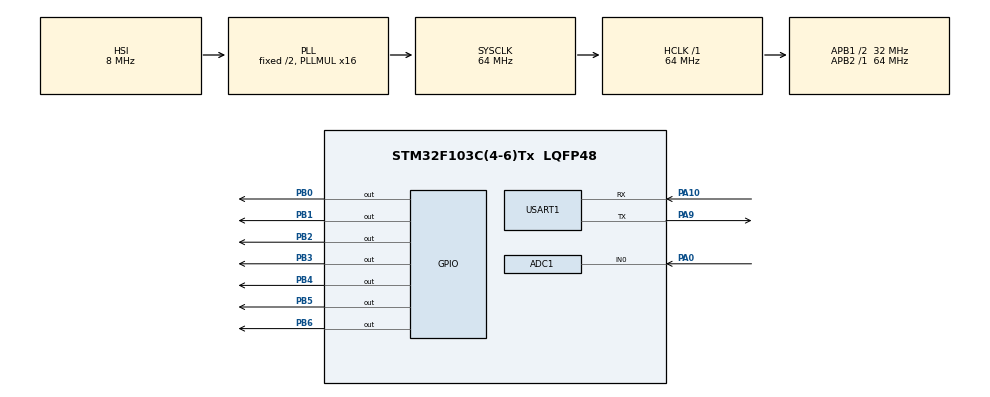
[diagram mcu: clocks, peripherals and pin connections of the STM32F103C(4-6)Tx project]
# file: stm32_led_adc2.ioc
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ADC1.Channel-0\#ChannelRegularConversion=ADC_CHANNEL_0
ADC1.ContinuousConvMode=DISABLE
ADC1.NbrOfConversionFlag=1
ADC1.Rank-0\#ChannelRegularConversion=1
ADC1.SamplingTime-0\#ChannelRegularConversion=ADC_SAMPLETIME_1CYCLE_5
ADC1.master=1
Mcu.Family=STM32F1
Mcu.Name=STM32F103C(4-6)Tx
Mcu.Package=LQFP48
NVIC.PriorityGroup=NVIC_PRIORITYGROUP_4
PA0-WKUP.Signal=ADCx_IN0
PA10.Mode=Asynchronous
PA10.Signal=USART1_RX
PA9.Mode=Asynchronous
PA9.Signal=USART1_TX
PB0.Signal=GPIO_Output
PB1.Signal=GPIO_Output
PB2.Signal=GPIO_Output
PB3.Signal=GPIO_Output
PB4.Signal=GPIO_Output
PB5.Signal=GPIO_Output
PB6.Signal=GPIO_Output
PD0-OSC_IN.Mode=HSE-External-Oscillator
PD0-OSC_IN.Signal=RCC_OSC_IN
PD1-OSC_OUT.Mode=HSE-External-Oscillator
PD1-OSC_OUT.Signal=RCC_OSC_OUT
ProjectManager.HeapSize=0x200
ProjectManager.StackSize=0x400
ProjectManager.TargetToolchain=STM32CubeIDE
RCC.ADCPresc=RCC_ADCPCLK2_DIV6
RCC.AHBFreq_Value=64000000
RCC.APB1CLKDivider=RCC_HCLK_DIV2
RCC.APB1Freq_Value=32000000
RCC.APB1TimFreq_Value=64000000
RCC.APB2Freq_Value=64000000
RCC.APB2TimFreq_Value=64000000
RCC.HCLKFreq_Value=64000000
RCC.PLLMUL=RCC_PLL_MUL16
RCC.SYSCLKFreq_VALUE=64000000
RCC.SYSCLKSource=RCC_SYSCLKSOURCE_PLLCLK
RCC.USBFreq_Value=64000000
SH.ADCx_IN0.0=ADC1_IN0,IN0
USART1.VirtualMode=VM_ASYNC
board=custom

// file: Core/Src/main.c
/* USER CODE BEGIN Header */
/**
  ******************************************************************************
  * @file           : main.c
  * @brief          : Main program body
  ******************************************************************************
  * @attention
  *
  * Copyright (c) 2023 STMicroelectronics.
  * All rights reserved.
  *
  * This software is licensed under terms that can be found in the LICENSE file
  * in the root directory of this software component.
  * If no LICENSE file comes with this software, it is provided AS-IS.
  *
  ******************************************************************************
  */
/* USER CODE END Header */
#include "main.h"

ADC_HandleTypeDef hadc1;

UART_HandleTypeDef huart1;

void SystemClock_Config(void);
static void MX_GPIO_Init(void);
static void MX_ADC1_Init(void);
static void MX_USART1_UART_Init(void);

int main(void)
{
  /* USER CODE BEGIN 1 */
  uint16_t adc_value;
  uint32_t res;
  uint32_t last_res;
  uint16_t T[16]={0x00C0,  //0
		  0x00F9,  //1
		  0x00A4,  //2
		  0x00B0,  //3
		  0x0099,  //4
		  0x0092,  //5
		  0x0082,  //6
		  0x00F8,  //7
		  0x0080,  //8
		  0x0090,  //9
		 };
  char msg[10];

  /* USER CODE END 1 */

  /* MCU Configuration--------------------------------------------------------*/

  /* Reset of all peripherals, Initializes the Flash interface and the Systick. */
  HAL_Init();

  /* Configure the system clock */
  SystemClock_Config();

  /* Initialize all configured peripherals */
  MX_GPIO_Init();
  MX_ADC1_Init();
  MX_USART1_UART_Init();

  /* Infinite loop */
  while (1)
  {

    /* USER CODE BEGIN 3 */
	  //TEST GPIO PIN CONVERSION BEGIN
int i = 0 ;
	  for(i = 0 ; i<10 ; i++) {
	  		   GPIOB->ODR = T[i];
	  		   HAL_Delay(100);
	  	   }
	   //GET ADC VALUE
	   HAL_ADC_Start(&hadc1);
	   HAL_ADC_PollForConversion(&hadc1,HAL_MAX_DELAY);
	   adc_value = HAL_ADC_GetValue(&hadc1);

	   //TEST GPIO PIN CONVERSION END

	   res = (adc_value*100)/4095;
	   last_res = res/3 ;

	   //convert to string and print
	   sprintf(msg,"ADC Value : %d  \n  Voltage Percent:%u\r   ",adc_value,last_res);
	 	   HAL_UART_Transmit(&huart1,(uint64_t*)msg,strlen(msg),HAL_MAX_DELAY);
	 	   HAL_Delay(100) ;

  }
  /* USER CODE END 3 */
}

void SystemClock_Config(void)
{
  RCC_OscInitTypeDef RCC_OscInitStruct = {0};
  RCC_ClkInitTypeDef RCC_ClkInitStruct = {0};
  RCC_PeriphCLKInitTypeDef PeriphClkInit = {0};

  /** Initializes the RCC Oscillators according to the specified parameters
  * in the RCC_OscInitTypeDef structure.
  */
  RCC_OscInitStruct.OscillatorType = RCC_OSCILLATORTYPE_HSI;
  RCC_OscInitStruct.HSIState = RCC_HSI_ON;
  RCC_OscInitStruct.HSICalibrationValue = RCC_HSICALIBRATION_DEFAULT;
  RCC_OscInitStruct.PLL.PLLState = RCC_PLL_ON;
  RCC_OscInitStruct.PLL.PLLSource = RCC_PLLSOURCE_HSI_DIV2;
  RCC_OscInitStruct.PLL.PLLMUL = RCC_PLL_MUL16;
  if (HAL_RCC_OscConfig(&RCC_OscInitStruct) != HAL_OK)
  {
    Error_Handler();
  }

  /** Initializes the CPU, AHB and APB buses clocks
  */
  RCC_ClkInitStruct.ClockType = RCC_CLOCKTYPE_HCLK|RCC_CLOCKTYPE_SYSCLK
                              |RCC_CLOCKTYPE_PCLK1|RCC_CLOCKTYPE_PCLK2;
  RCC_ClkInitStruct.SYSCLKSource = RCC_SYSCLKSOURCE_PLLCLK;
  RCC_ClkInitStruct.AHBCLKDivider = RCC_SYSCLK_DIV1;
  RCC_ClkInitStruct.APB1CLKDivider = RCC_HCLK_DIV2;
  RCC_ClkInitStruct.APB2CLKDivider = RCC_HCLK_DIV1;

  if (HAL_RCC_ClockConfig(&RCC_ClkInitStruct, FLASH_LATENCY_2) != HAL_OK)
  {
    Error_Handler();
  }
  PeriphClkInit.PeriphClockSelection = RCC_PERIPHCLK_ADC;
  PeriphClkInit.AdcClockSelection = RCC_ADCPCLK2_DIV6;
  if (HAL_RCCEx_PeriphCLKConfig(&PeriphClkInit) != HAL_OK)
  {
    Error_Handler();
  }
}

static void MX_ADC1_Init(void)
{

  ADC_ChannelConfTypeDef sConfig = {0};

  /** Common config
  */
  hadc1.Instance = ADC1;
  hadc1.Init.ScanConvMode = ADC_SCAN_DISABLE;
  hadc1.Init.ContinuousConvMode = DISABLE;
  hadc1.Init.DiscontinuousConvMode = DISABLE;
  hadc1.Init.ExternalTrigConv = ADC_SOFTWARE_START;
  hadc1.Init.DataAlign = ADC_DATAALIGN_RIGHT;
  hadc1.Init.NbrOfConversion = 1;
  if (HAL_ADC_Init(&hadc1) != HAL_OK)
  {
    Error_Handler();
  }

  /** Configure Regular Channel
  */
  sConfig.Channel = ADC_CHANNEL_0;
  sConfig.Rank = ADC_REGULAR_RANK_1;
  sConfig.SamplingTime = ADC_SAMPLETIME_1CYCLE_5;
  if (HAL_ADC_ConfigChannel(&hadc1, &sConfig) != HAL_OK)
  {
    Error_Handler();
  }

}

static void MX_USART1_UART_Init(void)
{

  huart1.Instance = USART1;
  huart1.Init.BaudRate = 115200;
  huart1.Init.WordLength = UART_WORDLENGTH_8B;
  huart1.Init.StopBits = UART_STOPBITS_1;
  huart1.Init.Parity = UART_PARITY_NONE;
  huart1.Init.Mode = UART_MODE_TX_RX;
  huart1.Init.HwFlowCtl = UART_HWCONTROL_NONE;
  huart1.Init.OverSampling = UART_OVERSAMPLING_16;
  if (HAL_UART_Init(&huart1) != HAL_OK)
  {
    Error_Handler();
  }

}

static void MX_GPIO_Init(void)
{
  GPIO_InitTypeDef GPIO_InitStruct = {0};

  /* GPIO Ports Clock Enable */
  __HAL_RCC_GPIOD_CLK_ENABLE();
  __HAL_RCC_GPIOA_CLK_ENABLE();
  __HAL_RCC_GPIOB_CLK_ENABLE();

  /*Configure GPIO pin Output Level */
  HAL_GPIO_WritePin(GPIOB, GPIO_PIN_0|GPIO_PIN_1|GPIO_PIN_2|GPIO_PIN_3
                          |GPIO_PIN_4|GPIO_PIN_5|GPIO_PIN_6, GPIO_PIN_RESET);

  /*Configure GPIO pins : PB0 PB1 PB2 PB3
                           PB4 PB5 PB6 */
  GPIO_InitStruct.Pin = GPIO_PIN_0|GPIO_PIN_1|GPIO_PIN_2|GPIO_PIN_3
                          |GPIO_PIN_4|GPIO_PIN_5|GPIO_PIN_6;
  GPIO_InitStruct.Mode = GPIO_MODE_OUTPUT_PP;
  GPIO_InitStruct.Pull = GPIO_NOPULL;
  GPIO_InitStruct.Speed = GPIO_SPEED_FREQ_LOW;
  HAL_GPIO_Init(GPIOB, &GPIO_InitStruct);

}

void Error_Handler(void)
{
  __disable_irq();
  while (1)
  {
  }
}
